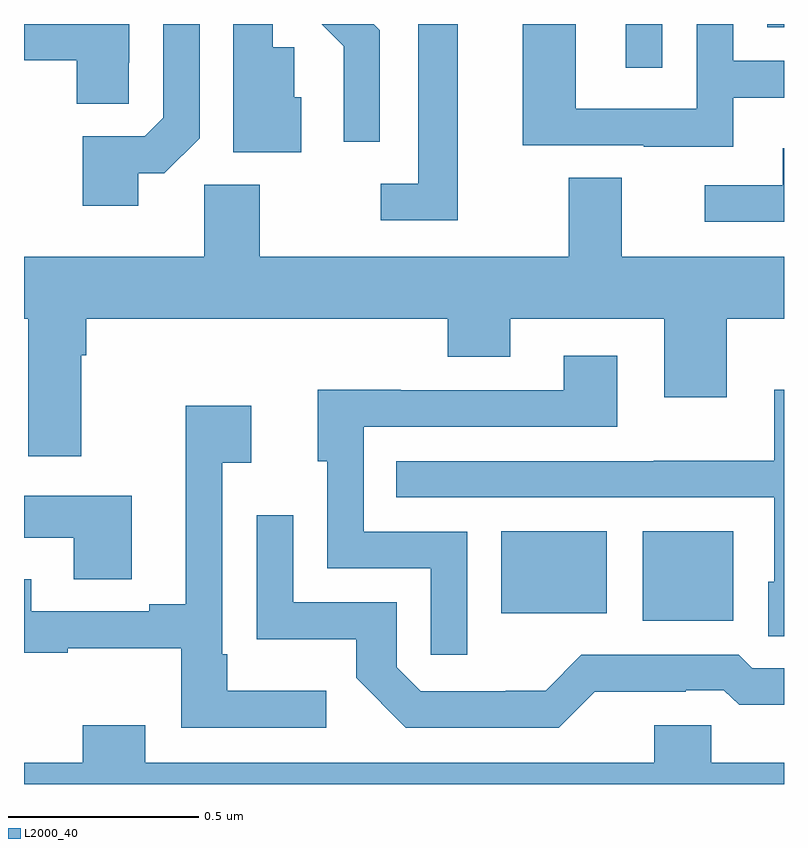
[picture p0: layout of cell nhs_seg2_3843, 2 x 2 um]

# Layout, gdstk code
import gdstk
lib = gdstk.Library(unit=1e-6, precision=1e-09)
def R(c, l, rs):  # rectangles x0, y0, x1, y1
    for r in rs: c.add(gdstk.rectangle(r[:2], r[2:], *l))
def P(c, l, *ps):  # polygons
    for p in ps: c.add(gdstk.Polygon(p, *l))
L2000_40 = (2000, 40)

nhs_seg2_3843 = lib.new_cell('nhs_seg2_3843')
R(nhs_seg2_3843, L2000_40, [(160.628,592.229,160.867,592.465), (160.256,592.25,160.534,592.465), (160.583,593.685,160.68,593.8), (160.956,593.792,161,593.8)])
P(nhs_seg2_3843, L2000_40, [(159.936,593.784),(159.92,593.8),(159.784,593.8),(159.842,593.742),(159.842,593.49),(159.936,593.49)],
  [(159.276,593.698),(159.277,593.698),(159.277,593.8),(159,593.8),(159,593.704),(159.139,593.704),(159.139,593.59),(159.276,593.59)],
  [(160.141,593.8),(160.037,593.8),(160.037,593.379),(159.939,593.379),(159.939,593.283),(160.141,593.283)],
  [(160.867,593.606),(161,593.606),(161,593.703),(160.866,593.703),(160.866,593.8),(160.77,593.8),(160.77,593.577),(160.452,593.577),(160.452,593.8),(160.313,593.8),(160.313,593.481),(160.631,593.481),(160.631,593.477),(160.867,593.477)],
  [(159.73,593.607),(159.711,593.607),(159.711,593.739),(159.655,593.739),(159.655,593.8),(159.551,593.8),(159.551,593.462),(159.73,593.462)],
  [(159.301,593.407),(159.369,593.407),(159.462,593.499),(159.462,593.8),(159.366,593.8),(159.366,593.553),(159.318,593.505),(159.154,593.505),(159.154,593.322),(159.301,593.322)],
  [(161,593.473),(160.997,593.473),(160.997,593.376),(160.791,593.376),(160.791,593.28),(161,593.28)],
  [(159.151,592.928),(159.164,592.928),(159.164,593.024),(160.115,593.024),(160.115,592.925),(160.279,592.925),(160.279,593.024),(160.685,593.024),(160.685,592.818),(160.849,592.818),(160.849,593.024),(161,593.024),(161,593.188),(160.573,593.188),(160.573,593.396),(160.433,593.396),(160.433,593.188),(159.621,593.188),(159.621,593.377),(159.474,593.377),(159.474,593.188),(159,593.188),(159,593.024),(159.011,593.024),(159.011,592.662),(159.151,592.662)],
  [(160.167,592.464),(159.894,592.464),(159.894,592.74),(160.561,592.74),(160.561,592.927),(160.421,592.927),(160.421,592.836),(159.991,592.836),(159.991,592.838),(159.773,592.838),(159.773,592.65),(159.798,592.65),(159.798,592.368),(160.071,592.368),(160.071,592.14),(160.167,592.14)],
  [(161,592.837),(160.974,592.837),(160.974,592.651),(160.657,592.651),(160.657,592.65),(159.979,592.65),(159.979,592.554),(160.974,592.554),(160.974,592.332),(160.958,592.332),(160.958,592.189),(161,592.189)],
  [(159.796,592.045),(159.535,592.045),(159.535,592.141),(159.522,592.141),(159.522,592.646),(159.598,592.646),(159.598,592.795),(159.425,592.795),(159.425,592.273),(159.329,592.273),(159.329,592.254),(159.019,592.254),(159.019,592.339),(159,592.339),(159,592.146),(159.115,592.146),(159.115,592.157),(159.414,592.157),(159.414,591.948),(159.796,591.948)],
  [(159.283,592.558),(159,592.558),(159,592.448),(159.131,592.448),(159.131,592.339),(159.283,592.339)],
  [(160.502,592.043),(160.742,592.043),(160.742,592.047),(160.842,592.047),(160.882,592.008),(161,592.008),(161,592.104),(160.917,592.104),(160.881,592.14),(160.467,592.14),(160.373,592.046),(160.268,592.046),(160.268,592.044),(160.044,592.044),(159.981,592.107),(159.981,592.278),(159.708,592.278),(159.708,592.507),(159.612,592.507),(159.612,592.181),(159.874,592.181),(159.874,592.079),(160.004,591.948),(160.407,591.948)],
  [(161,591.856),(160.809,591.856),(160.809,591.954),(160.658,591.954),(160.658,591.856),(159.319,591.856),(159.319,591.955),(159.155,591.955),(159.155,591.856),(159,591.856),(159,591.8),(161,591.8)])

lib.write_gds('nhs_seg2_3843.gds')
